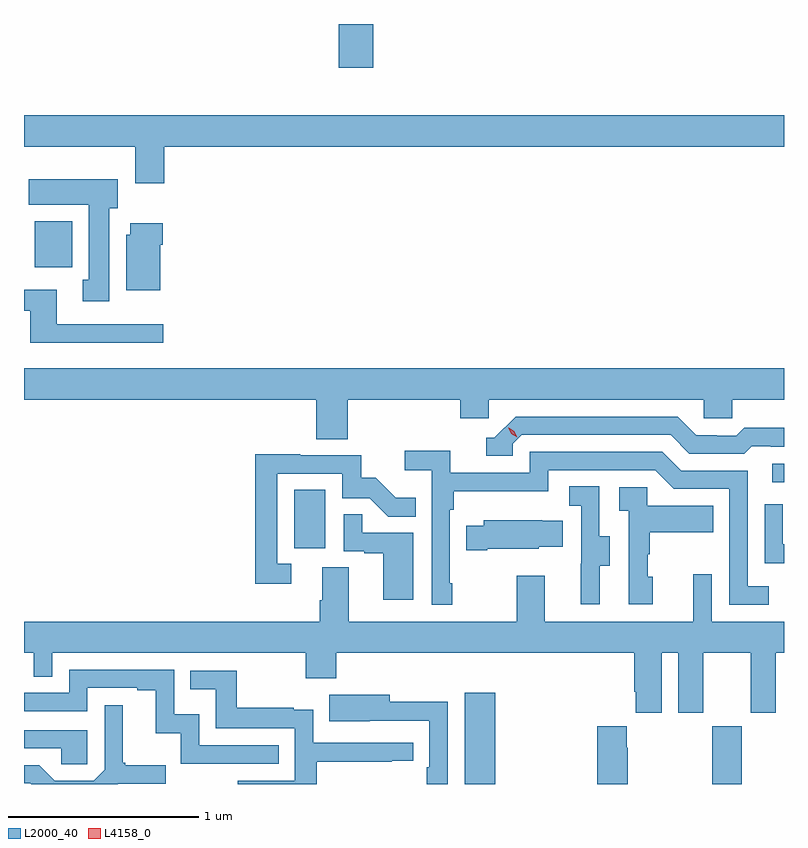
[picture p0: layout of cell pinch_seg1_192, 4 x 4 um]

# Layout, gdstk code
import gdstk
lib = gdstk.Library(unit=1e-6, precision=1e-09)
def R(c, l, rs):  # rectangles x0, y0, x1, y1
    for r in rs: c.add(gdstk.rectangle(r[:2], r[2:], *l))
def P(c, l, *ps):  # polygons
    for p in ps: c.add(gdstk.Polygon(p, *l))
L2000_40 = (2000, 40)
L4158_0 = (4158, 0)

pinch_seg1_192 = lib.new_cell('pinch_seg1_192')
R(pinch_seg1_192, L2000_40, [(973.409,579.013,973.57,579.493), (974.713,579.013,974.868,579.316), (972.512,580.254,972.676,580.561), (975.027,580.602,975.09,580.698), (971.147,581.732,971.344,581.974), (972.746,582.783,972.929,583.013)])
P(pinch_seg1_192, L2000_40, [(971.828,582.368),(975.09,582.368),(975.09,582.532),(971.09,582.532),(971.09,582.368),(971.675,582.368),(971.675,582.174),(971.828,582.174)],
  [(971.539,582.042),(971.584,582.042),(971.584,582.196),(971.115,582.196),(971.115,582.062),(971.432,582.062),(971.432,581.666),(971.399,581.666),(971.399,581.553),(971.539,581.553)],
  [(971.806,581.852),(971.819,581.852),(971.819,581.965),(971.648,581.965),(971.648,581.904),(971.627,581.904),(971.627,581.612),(971.806,581.612)],
  [(971.824,581.433),(971.263,581.433),(971.263,581.614),(971.09,581.614),(971.09,581.505),(971.123,581.505),(971.123,581.336),(971.824,581.336)],
  [(972.794,581.036),(973.385,581.036),(973.385,580.938),(973.536,580.938),(973.536,581.036),(974.667,581.036),(974.667,580.938),(974.817,580.938),(974.817,581.036),(975.09,581.036),(975.09,581.2),(971.09,581.2),(971.09,581.036),(972.629,581.036),(972.629,580.828),(972.794,580.828)],
  [(973.662,580.803),(973.71,580.851),(974.493,580.851),(974.592,580.752),(974.881,580.752),(974.92,580.791),(975.019,580.791),(975.019,580.788),(975.09,580.788),(975.09,580.888),(974.881,580.888),(974.839,580.845),(974.736,580.845),(974.736,580.848),(974.629,580.848),(974.53,580.947),(973.677,580.947),(973.566,580.836),(973.523,580.836),(973.523,580.74),(973.662,580.74)],
  [(973.345,580.069),(973.332,580.069),(973.332,580.457),(973.352,580.457),(973.352,580.553),(973.848,580.553),(973.848,580.665),(974.412,580.665),(974.511,580.566),(974.802,580.566),(974.802,579.957),(975.011,579.957),(975.011,580.053),(974.898,580.053),(974.898,580.662),(974.548,580.662),(974.449,580.761),(973.752,580.761),(973.752,580.65),(973.334,580.65),(973.334,580.766),(973.095,580.766),(973.095,580.664),(973.236,580.664),(973.236,579.957),(973.345,579.957)],
  [(972.496,580.173),(972.423,580.173),(972.423,580.647),(972.765,580.647),(972.765,580.518),(972.909,580.518),(973.007,580.42),(973.151,580.42),(973.151,580.519),(973.047,580.519),(972.94,580.626),(972.864,580.626),(972.864,580.743),(972.545,580.743),(972.545,580.748),(972.307,580.748),(972.307,580.068),(972.496,580.068)],
  [(974.119,580.162),(974.173,580.162),(974.173,580.317),(974.118,580.317),(974.118,580.58),(973.959,580.58),(973.959,580.477),(974.022,580.477),(974.022,580.173),(974.021,580.173),(974.021,579.96),(974.119,579.96)],
  [(974.398,580.104),(974.373,580.104),(974.373,580.223),(974.383,580.223),(974.383,580.337),(974.717,580.337),(974.717,580.477),(974.37,580.477),(974.37,580.575),(974.223,580.575),(974.223,580.451),(974.274,580.451),(974.274,579.96),(974.398,579.96)],
  [(975.09,580.274),(975.084,580.274),(975.084,580.486),(974.988,580.486),(974.988,580.176),(975.09,580.176)],
  [(973.138,580.335),(972.869,580.335),(972.869,580.433),(972.774,580.433),(972.774,580.239),(972.881,580.239),(972.881,580.227),(972.98,580.227),(972.98,579.984),(973.138,579.984)],
  [(973.528,580.25),(973.8,580.25),(973.8,580.262),(973.925,580.262),(973.925,580.399),(973.817,580.399),(973.817,580.402),(973.511,580.402),(973.511,580.372),(973.417,580.372),(973.417,580.243),(973.528,580.243)],
  [(974.446,579.704),(974.534,579.704),(974.534,579.387),(974.665,579.387),(974.665,579.704),(974.915,579.704),(974.915,579.387),(975.046,579.387),(975.046,579.704),(975.09,579.704),(975.09,579.868),(974.709,579.868),(974.709,580.117),(974.612,580.117),(974.612,579.868),(973.831,579.868),(973.831,580.108),(973.684,580.108),(973.684,579.868),(972.799,579.868),(972.799,580.154),(972.659,580.154),(972.659,579.98),(972.647,579.98),(972.647,579.868),(971.09,579.868),(971.09,579.704),(971.142,579.704),(971.142,579.577),(971.238,579.577),(971.238,579.704),(972.574,579.704),(972.574,579.569),(972.734,579.569),(972.734,579.704),(974.303,579.704),(974.303,579.499),(974.309,579.499),(974.309,579.387),(974.446,579.387)],
  [(972.431,579.216),(972.012,579.216),(972.012,579.379),(971.88,579.379),(971.88,579.615),(971.328,579.615),(971.328,579.492),(971.09,579.492),(971.09,579.396),(971.424,579.396),(971.424,579.519),(971.687,579.519),(971.687,579.507),(971.783,579.507),(971.783,579.281),(971.916,579.281),(971.916,579.12),(972.431,579.12)],
  [(972.632,579.13),(973.025,579.13),(973.025,579.135),(973.138,579.135),(973.138,579.231),(972.612,579.231),(972.612,579.403),(972.509,579.403),(972.509,579.415),(972.211,579.415),(972.211,579.609),(971.965,579.609),(971.965,579.512),(972.1,579.512),(972.1,579.306),(972.516,579.306),(972.516,579.03),(972.215,579.03),(972.215,579.013),(972.632,579.013)],
  [(973.32,579.446),(973.015,579.446),(973.015,579.484),(972.697,579.484),(972.697,579.344),(972.911,579.344),(972.911,579.345),(973.224,579.345),(973.224,579.1),(973.211,579.1),(973.211,579.013),(973.32,579.013)],
  [(971.586,579.015),(971.836,579.015),(971.836,579.112),(971.623,579.112),(971.623,579.124),(971.611,579.124),(971.611,579.427),(971.514,579.427),(971.514,579.087),(971.457,579.03),(971.251,579.03),(971.17,579.111),(971.09,579.111),(971.09,579.018),(971.124,579.018),(971.129,579.013),(971.584,579.013)],
  [(974.268,579.203),(974.263,579.203),(974.263,579.316),(974.108,579.316),(974.108,579.013),(974.268,579.013)],
  [(971.424,579.297),(971.09,579.297),(971.09,579.201),(971.287,579.201),(971.287,579.117),(971.424,579.117)])
P(pinch_seg1_192, L4158_0, [(973.686,580.837),(973.655,580.857),(973.639,580.889),(973.639,580.889),(973.64,580.889),(973.67,580.87),(973.686,580.838),(973.686,580.837)])

lib.write_gds('pinch_seg1_192.gds')
